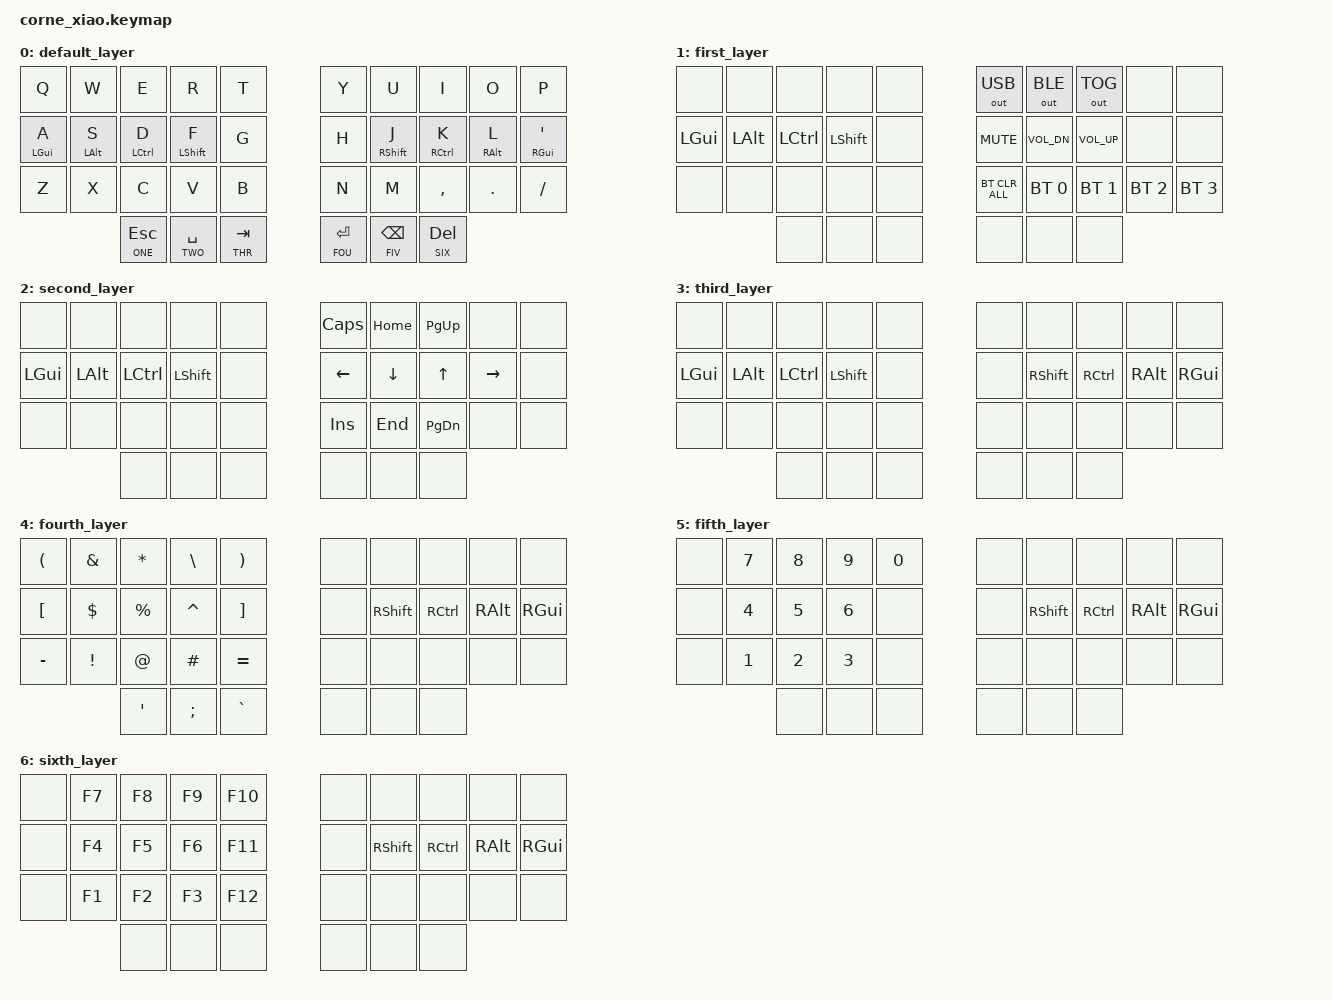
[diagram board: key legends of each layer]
/*
 * Copyright (c) 2020 The ZMK Contributors
 *
 * SPDX-License-Identifier: MIT
 */

#include <behaviors.dtsi>
#include <dt-bindings/zmk/keys.h>
#include <dt-bindings/zmk/bt.h>
#include <dt-bindings/zmk/outputs.h>

#define COMBO_TIMEOUT 60

#define DEF 0
#define ONE 1
#define TWO 2
#define THR 3
#define FOU 4
#define FIV 5
#define SIX 6

&lt {
    tapping-term-ms = <160>;
    quick-tap-ms = <150>;
};

/ {
    combos {
        compatible = "zmk,combos";

 	    combo_copy {
            timeout-ms = <COMBO_TIMEOUT>;
            key-positions = <21 22>;
            bindings = <&kp LC(C)>;
        };

 	    combo_paste {
            timeout-ms = <COMBO_TIMEOUT>;
            key-positions = <22 23>;
            bindings = <&kp LC(V)>;
        };

 	    combo_f18 {
            timeout-ms = <COMBO_TIMEOUT>;
            key-positions = <27 28>;
            bindings = <&kp F18>;
        };

    };
};

/ {
    behaviors {

        hm: homerow_mods {
            compatible = "zmk,behavior-hold-tap";
            #binding-cells = <2>;
            tapping-term-ms = <120>;
            quick-tap-ms = <100>;
            flavor = "balanced";
            bindings = <&kp>, <&kp>;
        };

    };
};

/ {
    keymap {
        compatible = "zmk,keymap";

// |----------------------------------------------------------------------------------------------------------------------------------------------------------------|
// |      Q      |      W      |      E      |      R      |      T      |                    |      Y      |      U      |      I      |      O      |      P      |
// |      A      |      S      |      D      |      F      |      G      |                    |      H      |      J      |      K      |      L      |      '      |
// |      Z      |      X      |      C      |      V      |      B      |                    |      N      |      M      |      ,      |      .      |      /      |
// |                           |     ESC     |    SPACE    |     TAB     |                    |     RET     |    BSPC     |     DEL     |                           |
// |----------------------------------------------------------------------------------------------------------------------------------------------------------------|

        default_layer {
            bindings = <
// |-------------|-------------|-------------|-------------|-------------|                    |-------------|-------------|-------------|-------------|-------------|
      &kp Q         &kp W         &kp E         &kp R         &kp T                              &kp Y         &kp U         &kp I         &kp O         &kp P
// |-------------|-------------|-------------|-------------|-------------|                    |-------------|-------------|-------------|-------------|-------------|
      &hm LGUI A   &hm LALT S    &hm LCTRL D   &hm LSHFT F    &kp G                              &kp H        &hm RSHFT J   &hm RCTRL K   &hm RALT L    &hm RGUI SQT
// |-------------|-------------|-------------|-------------|-------------|                    |-------------|-------------|-------------|-------------|-------------|
      &kp Z         &kp X         &kp C         &kp V         &kp B                              &kp N         &kp M         &kp COMMA     &kp DOT       &kp FSLH
// |-------------|-------------|-------------|-------------|-------------|                    |-------------|-------------|-------------|-------------|-------------|
                                 &lt ONE ESC  &lt TWO SPACE  &lt THR TAB                        &lt FOU RET  &lt FIV BSPC   &lt SIX DEL
//                             |-------------|-------------|-------------|                    |-------------|-------------|-------------|
            >;
        };

        first_layer {
            bindings = <
// |-------------|-------------|-------------|-------------|-------------|                    |-------------|-------------|-------------|-------------|-------------|
        &none         &none         &none         &none         &none                           &out OUT_USB  &out OUT_BLE  &out OUT_TOG     &none         &none
// |-------------|-------------|-------------|-------------|-------------|                    |-------------|-------------|-------------|-------------|-------------|
       &kp LGUI      &kp LALT     &kp LCTRL     &kp LSHFT       &none                            &kp C_MUTE   &kp C_VOL_DN  &kp C_VOL_UP     &none         &none
// |-------------|-------------|-------------|-------------|-------------|                    |-------------|-------------|-------------|-------------|-------------|
        &none         &none         &none         &none         &none                          &bt BT_CLR_ALL &bt BT_SEL 0  &bt BT_SEL 1  &bt BT_SEL 2  &bt BT_SEL 3
// |-------------|-------------|-------------|-------------|-------------|                    |-------------|-------------|-------------|-------------|-------------|
                                    &none         &none         &none                              &none         &none         &none                            
//                             |-------------|-------------|-------------|                    |-------------|-------------|-------------|
            >;
        };

        second_layer {
            bindings = <
// |-------------|-------------|-------------|-------------|-------------|                    |-------------|-------------|-------------|-------------|-------------|
        &none         &none         &none         &none         &none                             &kp CAPS      &kp HOME      &kp PG_UP      &none         &none
// |-------------|-------------|-------------|-------------|-------------|                    |-------------|-------------|-------------|-------------|-------------|
       &kp LGUI      &kp LALT     &kp LCTRL     &kp LSHFT       &none                             &kp LEFT      &kp DOWN      &kp UP        &kp RIGHT      &none
// |-------------|-------------|-------------|-------------|-------------|                    |-------------|-------------|-------------|-------------|-------------|
        &none         &none         &none         &none         &none                             &kp INS       &kp END       &kp PG_DN      &none         &none
// |-------------|-------------|-------------|-------------|-------------|                    |-------------|-------------|-------------|-------------|-------------|
                                    &none         &none         &none                              &none         &none         &none                            
//                             |-------------|-------------|-------------|                    |-------------|-------------|-------------|
            >;
        };

        third_layer {
            bindings = <
// |-------------|-------------|-------------|-------------|-------------|                    |-------------|-------------|-------------|-------------|-------------|
        &none         &none         &none         &none         &none                              &none         &none         &none         &none         &none
// |-------------|-------------|-------------|-------------|-------------|                    |-------------|-------------|-------------|-------------|-------------|
       &kp LGUI      &kp LALT     &kp LCTRL     &kp LSHFT       &none                              &none       &kp RSHFT     &kp RCTRL      &kp RALT      &kp RGUI   
// |-------------|-------------|-------------|-------------|-------------|                    |-------------|-------------|-------------|-------------|-------------|
        &none         &none         &none         &none         &none                              &none         &none         &none         &none         &none
// |-------------|-------------|-------------|-------------|-------------|                    |-------------|-------------|-------------|-------------|-------------|
                                    &none         &none         &none                              &none         &none         &none                            
//                             |-------------|-------------|-------------|                    |-------------|-------------|-------------|
            >;
        };
        
        fourth_layer {
            bindings = <
// |-------------|-------------|-------------|-------------|-------------|                    |-------------|-------------|-------------|-------------|-------------|
      &kp LPAR      &kp AMPS      &kp STAR      &kp BSLH      &kp RPAR                             &none         &none         &none         &none         &none
// |-------------|-------------|-------------|-------------|-------------|                    |-------------|-------------|-------------|-------------|-------------|
      &kp LBKT      &kp DLLR      &kp PRCNT     &kp CARET     &kp RBKT                             &none       &kp RSHFT     &kp RCTRL      &kp RALT      &kp RGUI   
// |-------------|-------------|-------------|-------------|-------------|                    |-------------|-------------|-------------|-------------|-------------|
      &kp MINUS     &kp EXCL      &kp AT        &kp HASH      &kp EQUAL                            &none         &none         &none         &none         &none
// |-------------|-------------|-------------|-------------|-------------|                    |-------------|-------------|-------------|-------------|-------------|
                                  &kp SQT       &kp SEMI      &kp GRAVE                            &none         &none         &none                            
//                             |-------------|-------------|-------------|                    |-------------|-------------|-------------|
            >;
        };

        fifth_layer {
            bindings = <
// |-------------|-------------|-------------|-------------|-------------|                    |-------------|-------------|-------------|-------------|-------------|
        &none        &kp N7        &kp N8        &kp N9        &kp N0                              &none         &none         &none         &none         &none
// |-------------|-------------|-------------|-------------|-------------|                    |-------------|-------------|-------------|-------------|-------------|
        &none        &kp N4        &kp N5        &kp N6         &none                              &none       &kp RSHFT     &kp RCTRL      &kp RALT      &kp RGUI   
// |-------------|-------------|-------------|-------------|-------------|                    |-------------|-------------|-------------|-------------|-------------|
        &none        &kp N1        &kp N2        &kp N3         &none                              &none         &none         &none         &none         &none
// |-------------|-------------|-------------|-------------|-------------|                    |-------------|-------------|-------------|-------------|-------------|
                                    &none         &none         &none                              &none         &none         &none                            
//                             |-------------|-------------|-------------|                    |-------------|-------------|-------------|
            >;
        };

        sixth_layer {
            bindings = <
// |-------------|-------------|-------------|-------------|-------------|                    |-------------|-------------|-------------|-------------|-------------|
        &none        &kp F7        &kp F8        &kp F9        &kp F10                             &none         &none         &none         &none         &none
// |-------------|-------------|-------------|-------------|-------------|                    |-------------|-------------|-------------|-------------|-------------|
        &none        &kp F4        &kp F5        &kp F6        &kp F11                             &none       &kp RSHFT     &kp RCTRL      &kp RALT      &kp RGUI   
// |-------------|-------------|-------------|-------------|-------------|                    |-------------|-------------|-------------|-------------|-------------|
        &none        &kp F1        &kp F2        &kp F3        &kp F12                             &none         &none         &none         &none         &none
// |-------------|-------------|-------------|-------------|-------------|                    |-------------|-------------|-------------|-------------|-------------|
                                    &none         &none         &none                              &none         &none         &none                            
//                             |-------------|-------------|-------------|                    |-------------|-------------|-------------|
            >;
        };

    };
};
